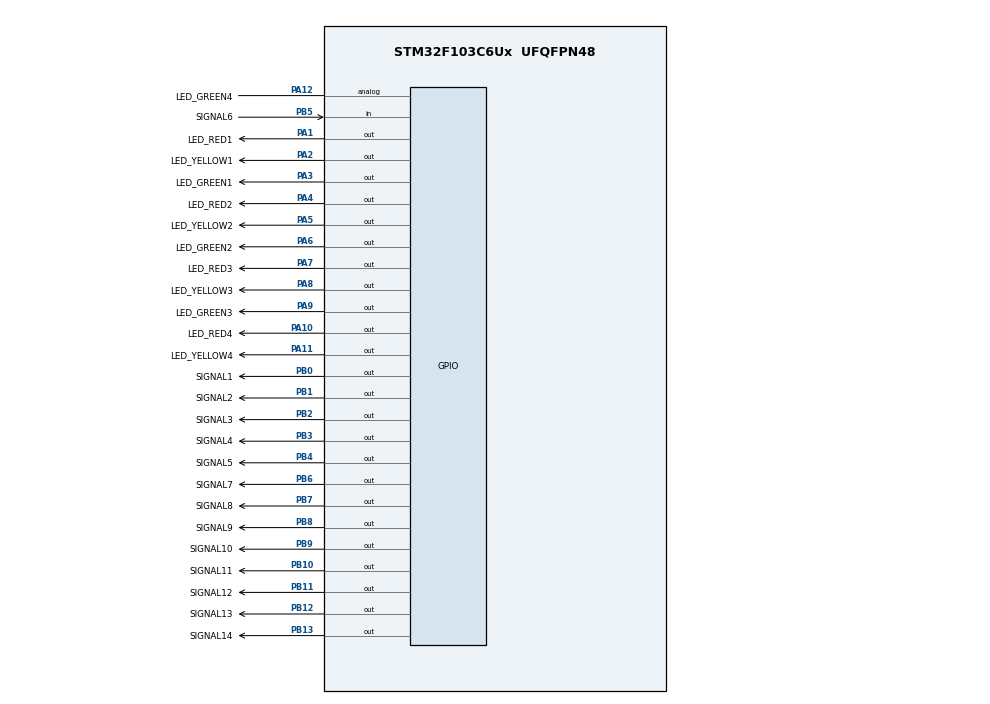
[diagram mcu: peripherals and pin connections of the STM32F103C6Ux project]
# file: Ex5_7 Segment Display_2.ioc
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Mcu.Family=STM32F1
Mcu.Name=STM32F103C6Ux
Mcu.Package=UFQFPN48
NVIC.PriorityGroup=NVIC_PRIORITYGROUP_4
PA1.GPIO_Label=LED_RED1
PA1.Signal=GPIO_Output
PA10.GPIO_Label=LED_RED4
PA10.Signal=GPIO_Output
PA11.GPIO_Label=LED_YELLOW4
PA11.Signal=GPIO_Output
PA12.GPIO_Label=LED_GREEN4
PA12.Signal=GPIO_Analog
PA2.GPIO_Label=LED_YELLOW1
PA2.Signal=GPIO_Output
PA3.GPIO_Label=LED_GREEN1
PA3.Signal=GPIO_Output
PA4.GPIO_Label=LED_RED2
PA4.Signal=GPIO_Output
PA5.GPIO_Label=LED_YELLOW2
PA5.Signal=GPIO_Output
PA6.GPIO_Label=LED_GREEN2
PA6.Signal=GPIO_Output
PA7.GPIO_Label=LED_RED3
PA7.Signal=GPIO_Output
PA8.GPIO_Label=LED_YELLOW3
PA8.Signal=GPIO_Output
PA9.GPIO_Label=LED_GREEN3
PA9.Signal=GPIO_Output
PB0.GPIO_Label=SIGNAL1
PB0.Signal=GPIO_Output
PB1.GPIO_Label=SIGNAL2
PB1.Signal=GPIO_Output
PB10.GPIO_Label=SIGNAL11
PB10.Signal=GPIO_Output
PB11.GPIO_Label=SIGNAL12
PB11.Signal=GPIO_Output
PB12.GPIO_Label=SIGNAL13
PB12.Signal=GPIO_Output
PB13.GPIO_Label=SIGNAL14
PB13.Signal=GPIO_Output
PB2.GPIO_Label=SIGNAL3
PB2.Signal=GPIO_Output
PB3.GPIO_Label=SIGNAL4
PB3.Signal=GPIO_Output
PB4.GPIO_Label=SIGNAL5
PB4.Signal=GPIO_Output
PB5.GPIO_Label=SIGNAL6
PB5.Signal=GPIO_Input
PB6.GPIO_Label=SIGNAL7
PB6.Signal=GPIO_Output
PB7.GPIO_Label=SIGNAL8
PB7.Signal=GPIO_Output
PB8.GPIO_Label=SIGNAL9
PB8.Signal=GPIO_Output
PB9.GPIO_Label=SIGNAL10
PB9.Signal=GPIO_Output
ProjectManager.HeapSize=0x200
ProjectManager.StackSize=0x400
ProjectManager.TargetToolchain=STM32CubeIDE
RCC.APB1Freq_Value=8000000
RCC.APB2Freq_Value=8000000
VP_SYS_VS_ND.Mode=No_Debug
board=custom

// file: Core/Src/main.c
/* USER CODE BEGIN Header */
/**
  ******************************************************************************
  * @file           : main.c
  * @brief          : Main program body
  ******************************************************************************
  * @attention
  *
  * <h2><center>&copy; Copyright (c) 2022 STMicroelectronics.
  * All rights reserved.</center></h2>
  *
  * This software component is licensed by ST under BSD 3-Clause license,
  * the "License"; You may not use this file except in compliance with the
  * License. You may obtain a copy of the License at:
  *                        opensource.org/licenses/BSD-3-Clause
  *
  ******************************************************************************
  */
/* USER CODE END Header */
#include "main.h"

void SystemClock_Config(void);
static void MX_GPIO_Init(void);

void display7SEG_24(int num){
	switch (num)
		{
		case 0:
				{
				HAL_GPIO_WritePin(SIGNAL8_GPIO_Port, SIGNAL8_Pin, RESET);
				HAL_GPIO_WritePin(SIGNAL9_GPIO_Port, SIGNAL9_Pin, RESET);
				HAL_GPIO_WritePin(SIGNAL10_GPIO_Port, SIGNAL10_Pin, RESET);
				HAL_GPIO_WritePin(SIGNAL11_GPIO_Port, SIGNAL11_Pin, RESET);
				HAL_GPIO_WritePin(SIGNAL12_GPIO_Port, SIGNAL12_Pin, RESET);
				HAL_GPIO_WritePin(SIGNAL13_GPIO_Port, SIGNAL13_Pin, RESET);
				HAL_GPIO_WritePin(SIGNAL14_GPIO_Port, SIGNAL14_Pin, SET);
				break;
				}
		case 1:
			{
			HAL_GPIO_WritePin(SIGNAL8_GPIO_Port, SIGNAL8_Pin, SET);
			HAL_GPIO_WritePin(SIGNAL9_GPIO_Port, SIGNAL9_Pin, RESET);
			HAL_GPIO_WritePin(SIGNAL10_GPIO_Port, SIGNAL10_Pin, RESET);
			HAL_GPIO_WritePin(SIGNAL11_GPIO_Port, SIGNAL11_Pin, SET);
			HAL_GPIO_WritePin(SIGNAL12_GPIO_Port, SIGNAL12_Pin, SET);
			HAL_GPIO_WritePin(SIGNAL13_GPIO_Port, SIGNAL13_Pin, SET);
			HAL_GPIO_WritePin(SIGNAL14_GPIO_Port, SIGNAL14_Pin, SET);
			break;
			}
		case 2:
			{
				HAL_GPIO_WritePin(SIGNAL8_GPIO_Port, SIGNAL8_Pin, RESET);
				HAL_GPIO_WritePin(SIGNAL9_GPIO_Port, SIGNAL9_Pin, RESET);
				HAL_GPIO_WritePin(SIGNAL10_GPIO_Port, SIGNAL10_Pin, SET);
				HAL_GPIO_WritePin(SIGNAL11_GPIO_Port, SIGNAL11_Pin, RESET);
				HAL_GPIO_WritePin(SIGNAL12_GPIO_Port, SIGNAL12_Pin, RESET);
				HAL_GPIO_WritePin(SIGNAL13_GPIO_Port, SIGNAL13_Pin, SET);
				HAL_GPIO_WritePin(SIGNAL14_GPIO_Port, SIGNAL14_Pin, RESET);
				break;
			}
		case 3:
				{
					HAL_GPIO_WritePin(SIGNAL8_GPIO_Port, SIGNAL8_Pin, RESET);
					HAL_GPIO_WritePin(SIGNAL9_GPIO_Port, SIGNAL9_Pin, RESET);
					HAL_GPIO_WritePin(SIGNAL10_GPIO_Port, SIGNAL10_Pin, RESET);
					HAL_GPIO_WritePin(SIGNAL11_GPIO_Port, SIGNAL11_Pin, RESET);
					HAL_GPIO_WritePin(SIGNAL12_GPIO_Port, SIGNAL12_Pin, SET);
					HAL_GPIO_WritePin(SIGNAL13_GPIO_Port, SIGNAL13_Pin, SET);
					HAL_GPIO_WritePin(SIGNAL14_GPIO_Port, SIGNAL14_Pin, RESET);
					break;
				}
		case 4:
				{
					HAL_GPIO_WritePin(SIGNAL8_GPIO_Port, SIGNAL8_Pin, SET);
					HAL_GPIO_WritePin(SIGNAL9_GPIO_Port, SIGNAL9_Pin, RESET);
					HAL_GPIO_WritePin(SIGNAL10_GPIO_Port, SIGNAL10_Pin, RESET);
					HAL_GPIO_WritePin(SIGNAL11_GPIO_Port, SIGNAL11_Pin, SET);
					HAL_GPIO_WritePin(SIGNAL12_GPIO_Port, SIGNAL12_Pin, SET);
					HAL_GPIO_WritePin(SIGNAL13_GPIO_Port, SIGNAL13_Pin, RESET);
					HAL_GPIO_WritePin(SIGNAL14_GPIO_Port, SIGNAL14_Pin, RESET);
					break;
				}
		case 5:
				{
					HAL_GPIO_WritePin(SIGNAL8_GPIO_Port, SIGNAL8_Pin, RESET);
					HAL_GPIO_WritePin(SIGNAL9_GPIO_Port, SIGNAL9_Pin, SET);
					HAL_GPIO_WritePin(SIGNAL10_GPIO_Port, SIGNAL10_Pin, RESET);
					HAL_GPIO_WritePin(SIGNAL11_GPIO_Port, SIGNAL11_Pin, RESET);
					HAL_GPIO_WritePin(SIGNAL12_GPIO_Port, SIGNAL12_Pin, SET);
					HAL_GPIO_WritePin(SIGNAL13_GPIO_Port, SIGNAL13_Pin, RESET);
					HAL_GPIO_WritePin(SIGNAL14_GPIO_Port, SIGNAL14_Pin, RESET);
					break;
				}
		case 6:
				{
					HAL_GPIO_WritePin(SIGNAL8_GPIO_Port, SIGNAL8_Pin, RESET);
					HAL_GPIO_WritePin(SIGNAL9_GPIO_Port, SIGNAL9_Pin, SET);
					HAL_GPIO_WritePin(SIGNAL10_GPIO_Port, SIGNAL10_Pin, RESET);
					HAL_GPIO_WritePin(SIGNAL11_GPIO_Port, SIGNAL11_Pin, RESET);
					HAL_GPIO_WritePin(SIGNAL12_GPIO_Port, SIGNAL12_Pin, RESET);
					HAL_GPIO_WritePin(SIGNAL13_GPIO_Port, SIGNAL13_Pin, RESET);
					HAL_GPIO_WritePin(SIGNAL14_GPIO_Port, SIGNAL14_Pin, RESET);
					break;
				}
		case 7:
				{
					HAL_GPIO_WritePin(SIGNAL8_GPIO_Port, SIGNAL8_Pin, RESET);
					HAL_GPIO_WritePin(SIGNAL9_GPIO_Port, SIGNAL9_Pin, RESET);
					HAL_GPIO_WritePin(SIGNAL10_GPIO_Port, SIGNAL10_Pin, RESET);
					HAL_GPIO_WritePin(SIGNAL11_GPIO_Port, SIGNAL11_Pin, SET);
					HAL_GPIO_WritePin(SIGNAL12_GPIO_Port, SIGNAL12_Pin, SET);
					HAL_GPIO_WritePin(SIGNAL13_GPIO_Port, SIGNAL13_Pin, SET);
					HAL_GPIO_WritePin(SIGNAL14_GPIO_Port, SIGNAL14_Pin, SET);
					break;
				}
		case 8:
				{
					HAL_GPIO_WritePin(SIGNAL8_GPIO_Port, SIGNAL8_Pin, RESET);
					HAL_GPIO_WritePin(SIGNAL9_GPIO_Port, SIGNAL9_Pin, RESET);
					HAL_GPIO_WritePin(SIGNAL10_GPIO_Port, SIGNAL10_Pin, RESET);
					HAL_GPIO_WritePin(SIGNAL11_GPIO_Port, SIGNAL11_Pin, RESET);
					HAL_GPIO_WritePin(SIGNAL12_GPIO_Port, SIGNAL12_Pin, RESET);
					HAL_GPIO_WritePin(SIGNAL13_GPIO_Port, SIGNAL13_Pin, RESET);
					HAL_GPIO_WritePin(SIGNAL14_GPIO_Port, SIGNAL14_Pin, RESET);
					break;
				}
		case 9:
				{
					HAL_GPIO_WritePin(SIGNAL8_GPIO_Port, SIGNAL8_Pin, RESET);
					HAL_GPIO_WritePin(SIGNAL9_GPIO_Port, SIGNAL9_Pin, RESET);
					HAL_GPIO_WritePin(SIGNAL10_GPIO_Port, SIGNAL10_Pin, RESET);
					HAL_GPIO_WritePin(SIGNAL11_GPIO_Port, SIGNAL11_Pin, RESET);
					HAL_GPIO_WritePin(SIGNAL12_GPIO_Port, SIGNAL12_Pin, SET);
					HAL_GPIO_WritePin(SIGNAL13_GPIO_Port, SIGNAL13_Pin, RESET);
					HAL_GPIO_WritePin(SIGNAL14_GPIO_Port, SIGNAL14_Pin, RESET);
					break;
				}
		}
}

void display7SEG_13(int num){
	switch (num)
	{
	case 0:
			{
			HAL_GPIO_WritePin(SIGNAL1_GPIO_Port, SIGNAL1_Pin, RESET);
			HAL_GPIO_WritePin(SIGNAL2_GPIO_Port, SIGNAL2_Pin, RESET);
			HAL_GPIO_WritePin(SIGNAL3_GPIO_Port, SIGNAL3_Pin, RESET);
			HAL_GPIO_WritePin(SIGNAL4_GPIO_Port, SIGNAL4_Pin, RESET);
			HAL_GPIO_WritePin(SIGNAL5_GPIO_Port, SIGNAL5_Pin, RESET);
			HAL_GPIO_WritePin(SIGNAL6_GPIO_Port, SIGNAL6_Pin, RESET);
			HAL_GPIO_WritePin(SIGNAL7_GPIO_Port, SIGNAL7_Pin, SET);
			break;
			}
	case 1:
		{
		HAL_GPIO_WritePin(SIGNAL1_GPIO_Port, SIGNAL1_Pin, SET);
		HAL_GPIO_WritePin(SIGNAL2_GPIO_Port, SIGNAL2_Pin, RESET);
		HAL_GPIO_WritePin(SIGNAL3_GPIO_Port, SIGNAL3_Pin, RESET);
		HAL_GPIO_WritePin(SIGNAL4_GPIO_Port, SIGNAL4_Pin, SET);
		HAL_GPIO_WritePin(SIGNAL5_GPIO_Port, SIGNAL5_Pin, SET);
		HAL_GPIO_WritePin(SIGNAL6_GPIO_Port, SIGNAL6_Pin, SET);
		HAL_GPIO_WritePin(SIGNAL7_GPIO_Port, SIGNAL7_Pin, SET);
		break;
		}
	case 2:
		{
			HAL_GPIO_WritePin(SIGNAL1_GPIO_Port, SIGNAL1_Pin, RESET);
			HAL_GPIO_WritePin(SIGNAL2_GPIO_Port, SIGNAL2_Pin, RESET);
			HAL_GPIO_WritePin(SIGNAL3_GPIO_Port, SIGNAL3_Pin, SET);
			HAL_GPIO_WritePin(SIGNAL4_GPIO_Port, SIGNAL4_Pin, RESET);
			HAL_GPIO_WritePin(SIGNAL5_GPIO_Port, SIGNAL5_Pin, RESET);
			HAL_GPIO_WritePin(SIGNAL6_GPIO_Port, SIGNAL6_Pin, SET);
			HAL_GPIO_WritePin(SIGNAL7_GPIO_Port, SIGNAL7_Pin, RESET);
			break;
		}
	case 3:
			{
				HAL_GPIO_WritePin(SIGNAL1_GPIO_Port, SIGNAL1_Pin, RESET);
				HAL_GPIO_WritePin(SIGNAL2_GPIO_Port, SIGNAL2_Pin, RESET);
				HAL_GPIO_WritePin(SIGNAL3_GPIO_Port, SIGNAL3_Pin, RESET);
				HAL_GPIO_WritePin(SIGNAL4_GPIO_Port, SIGNAL4_Pin, RESET);
				HAL_GPIO_WritePin(SIGNAL5_GPIO_Port, SIGNAL5_Pin, SET);
				HAL_GPIO_WritePin(SIGNAL6_GPIO_Port, SIGNAL6_Pin, SET);
				HAL_GPIO_WritePin(SIGNAL7_GPIO_Port, SIGNAL7_Pin, RESET);
				break;
			}
	case 4:
			{
				HAL_GPIO_WritePin(SIGNAL1_GPIO_Port, SIGNAL1_Pin, SET);
				HAL_GPIO_WritePin(SIGNAL2_GPIO_Port, SIGNAL2_Pin, RESET);
				HAL_GPIO_WritePin(SIGNAL3_GPIO_Port, SIGNAL3_Pin, RESET);
				HAL_GPIO_WritePin(SIGNAL4_GPIO_Port, SIGNAL4_Pin, SET);
				HAL_GPIO_WritePin(SIGNAL5_GPIO_Port, SIGNAL5_Pin, SET);
				HAL_GPIO_WritePin(SIGNAL6_GPIO_Port, SIGNAL6_Pin, RESET);
				HAL_GPIO_WritePin(SIGNAL7_GPIO_Port, SIGNAL7_Pin, RESET);
				break;
			}
	case 5:
			{
				HAL_GPIO_WritePin(SIGNAL1_GPIO_Port, SIGNAL1_Pin, RESET);
				HAL_GPIO_WritePin(SIGNAL2_GPIO_Port, SIGNAL2_Pin, SET);
				HAL_GPIO_WritePin(SIGNAL3_GPIO_Port, SIGNAL3_Pin, RESET);
				HAL_GPIO_WritePin(SIGNAL4_GPIO_Port, SIGNAL4_Pin, RESET);
				HAL_GPIO_WritePin(SIGNAL5_GPIO_Port, SIGNAL5_Pin, SET);
				HAL_GPIO_WritePin(SIGNAL6_GPIO_Port, SIGNAL6_Pin, RESET);
				HAL_GPIO_WritePin(SIGNAL7_GPIO_Port, SIGNAL7_Pin, RESET);
				break;
			}
	case 6:
			{
				HAL_GPIO_WritePin(SIGNAL1_GPIO_Port, SIGNAL1_Pin, RESET);
				HAL_GPIO_WritePin(SIGNAL2_GPIO_Port, SIGNAL2_Pin, SET);
				HAL_GPIO_WritePin(SIGNAL3_GPIO_Port, SIGNAL3_Pin, RESET);
				HAL_GPIO_WritePin(SIGNAL4_GPIO_Port, SIGNAL4_Pin, RESET);
				HAL_GPIO_WritePin(SIGNAL5_GPIO_Port, SIGNAL5_Pin, RESET);
				HAL_GPIO_WritePin(SIGNAL6_GPIO_Port, SIGNAL6_Pin, RESET);
				HAL_GPIO_WritePin(SIGNAL7_GPIO_Port, SIGNAL7_Pin, RESET);
				break;
			}
	case 7:
			{
				HAL_GPIO_WritePin(SIGNAL1_GPIO_Port, SIGNAL1_Pin, RESET);
				HAL_GPIO_WritePin(SIGNAL2_GPIO_Port, SIGNAL2_Pin, RESET);
				HAL_GPIO_WritePin(SIGNAL3_GPIO_Port, SIGNAL3_Pin, RESET);
				HAL_GPIO_WritePin(SIGNAL4_GPIO_Port, SIGNAL4_Pin, SET);
				HAL_GPIO_WritePin(SIGNAL5_GPIO_Port, SIGNAL5_Pin, SET);
				HAL_GPIO_WritePin(SIGNAL6_GPIO_Port, SIGNAL6_Pin, SET);
				HAL_GPIO_WritePin(SIGNAL7_GPIO_Port, SIGNAL7_Pin, SET);
				break;
			}
	case 8:
			{
				HAL_GPIO_WritePin(SIGNAL1_GPIO_Port, SIGNAL1_Pin, RESET);
				HAL_GPIO_WritePin(SIGNAL2_GPIO_Port, SIGNAL2_Pin, RESET);
				HAL_GPIO_WritePin(SIGNAL3_GPIO_Port, SIGNAL3_Pin, RESET);
				HAL_GPIO_WritePin(SIGNAL4_GPIO_Port, SIGNAL4_Pin, RESET);
				HAL_GPIO_WritePin(SIGNAL5_GPIO_Port, SIGNAL5_Pin, RESET);
				HAL_GPIO_WritePin(SIGNAL6_GPIO_Port, SIGNAL6_Pin, RESET);
				HAL_GPIO_WritePin(SIGNAL7_GPIO_Port, SIGNAL7_Pin, RESET);
				break;
			}
	case 9:
			{
				HAL_GPIO_WritePin(SIGNAL1_GPIO_Port, SIGNAL1_Pin, RESET);
				HAL_GPIO_WritePin(SIGNAL2_GPIO_Port, SIGNAL2_Pin, RESET);
				HAL_GPIO_WritePin(SIGNAL3_GPIO_Port, SIGNAL3_Pin, RESET);
				HAL_GPIO_WritePin(SIGNAL4_GPIO_Port, SIGNAL4_Pin, RESET);
				HAL_GPIO_WritePin(SIGNAL5_GPIO_Port, SIGNAL5_Pin, SET);
				HAL_GPIO_WritePin(SIGNAL6_GPIO_Port, SIGNAL6_Pin, RESET);
				HAL_GPIO_WritePin(SIGNAL7_GPIO_Port, SIGNAL7_Pin, RESET);
				break;
			}
	}
}
int main(void)
{

  /* MCU Configuration--------------------------------------------------------*/

  /* Reset of all peripherals, Initializes the Flash interface and the Systick. */
  HAL_Init();

  /* Configure the system clock */
  SystemClock_Config();

  /* Initialize all configured peripherals */
  MX_GPIO_Init();

  /* Infinite loop */
  /* USER CODE BEGIN WHILE */
  int time_red =5,time_yellow =2,time_green =3;
      int couter_time=0;
      int led_status =0;
      int couter_led1=0;
      int couter_led2=0;

      while (1)
      {
        /* USER CODE END WHILE */
    	  if(led_status == 0){
    	  // DEN DO KICH HOAT
    	  	// DO 13 XANH 24
    		  //DEN DO
    	  	  	HAL_GPIO_WritePin ( LED_RED1_GPIO_Port , LED_RED1_Pin ,  GPIO_PIN_RESET ) ;
    	  		HAL_GPIO_WritePin ( LED_RED2_GPIO_Port , LED_RED2_Pin ,  GPIO_PIN_SET ) ;
    	  		HAL_GPIO_WritePin ( LED_RED3_GPIO_Port , LED_RED3_Pin ,  GPIO_PIN_RESET ) ;
    	  		HAL_GPIO_WritePin ( LED_RED4_GPIO_Port , LED_RED4_Pin ,  GPIO_PIN_SET ) ;
    	  		// DDEN VANG
    	  		HAL_GPIO_WritePin ( LED_YELLOW1_GPIO_Port , LED_YELLOW1_Pin ,  GPIO_PIN_SET ) ;
    	  		HAL_GPIO_WritePin ( LED_YELLOW2_GPIO_Port , LED_YELLOW2_Pin ,  GPIO_PIN_SET ) ;
    	  		HAL_GPIO_WritePin ( LED_YELLOW3_GPIO_Port , LED_YELLOW3_Pin ,  GPIO_PIN_SET ) ;
    	  		HAL_GPIO_WritePin ( LED_YELLOW4_GPIO_Port , LED_YELLOW4_Pin ,  GPIO_PIN_SET ) ;
    	  		//DEN XANH
    	  		HAL_GPIO_WritePin ( LED_GREEN1_GPIO_Port , LED_GREEN1_Pin ,  GPIO_PIN_SET ) ;
    	  		HAL_GPIO_WritePin ( LED_GREEN2_GPIO_Port , LED_GREEN2_Pin ,  GPIO_PIN_RESET ) ;
    	  		HAL_GPIO_WritePin ( LED_GREEN3_GPIO_Port , LED_GREEN3_Pin ,  GPIO_PIN_SET ) ;
    	  		HAL_GPIO_WritePin ( LED_GREEN4_GPIO_Port , LED_GREEN4_Pin ,  GPIO_PIN_RESET ) ;

    	  		if(couter_time>time_red-time_yellow){
    	  			led_status = 1;
    	  			couter_time =0;
    	  			couter_led2=0;
    	  		}else{
    	  			couter_time =couter_time+1;
    	  			led_status =0;
    	  			display7SEG_13(time_red-couter_led1);
    	  			display7SEG_24(time_green-couter_led2);
    	  			couter_led1=couter_led1+1;
    	  			couter_led2=couter_led2+1;
    		  		HAL_Delay(500);
    	  		}
    	  }
    	  if(led_status ==1){
    		  //// DO 13 VANG 24

    		  		HAL_GPIO_WritePin ( LED_RED1_GPIO_Port , LED_RED1_Pin ,  GPIO_PIN_RESET ) ;
    		  		HAL_GPIO_WritePin ( LED_RED2_GPIO_Port , LED_RED2_Pin ,  GPIO_PIN_SET ) ;
    		  		HAL_GPIO_WritePin ( LED_RED3_GPIO_Port , LED_RED3_Pin ,  GPIO_PIN_RESET ) ;
    		  		HAL_GPIO_WritePin ( LED_RED4_GPIO_Port , LED_RED4_Pin ,  GPIO_PIN_SET ) ;

    		  		HAL_GPIO_WritePin ( LED_YELLOW1_GPIO_Port , LED_YELLOW1_Pin ,  GPIO_PIN_SET ) ;
    		  		HAL_GPIO_WritePin ( LED_YELLOW2_GPIO_Port , LED_YELLOW2_Pin ,  GPIO_PIN_RESET ) ;
    		  		HAL_GPIO_WritePin ( LED_YELLOW3_GPIO_Port , LED_YELLOW3_Pin ,  GPIO_PIN_SET ) ;
    		  		HAL_GPIO_WritePin ( LED_YELLOW4_GPIO_Port , LED_YELLOW4_Pin ,  GPIO_PIN_RESET ) ;

    		  		HAL_GPIO_WritePin ( LED_GREEN1_GPIO_Port , LED_GREEN1_Pin ,  GPIO_PIN_SET ) ;
    		  		HAL_GPIO_WritePin ( LED_GREEN2_GPIO_Port , LED_GREEN2_Pin ,  GPIO_PIN_SET ) ;
    		  		HAL_GPIO_WritePin ( LED_GREEN3_GPIO_Port , LED_GREEN3_Pin ,  GPIO_PIN_SET ) ;
    		  		HAL_GPIO_WritePin ( LED_GREEN4_GPIO_Port , LED_GREEN4_Pin ,  GPIO_PIN_SET ) ;
    		  		if(couter_time>time_red-time_green){
    		  			  			led_status = 2;
    		  			  			couter_time =0;
    		  			  			couter_led1=0;
    		  			  			couter_led2=0;
    		  		}else{
    		  			  	couter_time =couter_time+1;
    		  			  	led_status =1;
    		  			  	display7SEG_13(time_red-couter_led1);
    		  			    display7SEG_24(time_yellow-couter_led2);
    		  			    couter_led1=couter_led1+1;
    		  			    couter_led2=couter_led2+1;
    		  			  	HAL_Delay(500);
    		  		}
    	  }
    	  if(led_status ==2){
    		  // DEN XANH KICH HOAT

    		  	// DO 24 XANH 13
    		  		HAL_GPIO_WritePin ( LED_RED1_GPIO_Port , LED_RED1_Pin ,  GPIO_PIN_SET ) ;
    		  		HAL_GPIO_WritePin ( LED_RED2_GPIO_Port , LED_RED2_Pin ,  GPIO_PIN_RESET ) ;
    		  		HAL_GPIO_WritePin ( LED_RED3_GPIO_Port , LED_RED3_Pin ,  GPIO_PIN_SET ) ;
    		  		HAL_GPIO_WritePin ( LED_RED4_GPIO_Port , LED_RED4_Pin ,  GPIO_PIN_RESET ) ;

    		  		HAL_GPIO_WritePin ( LED_YELLOW1_GPIO_Port , LED_YELLOW1_Pin ,  GPIO_PIN_SET ) ;
    		  		HAL_GPIO_WritePin ( LED_YELLOW2_GPIO_Port , LED_YELLOW2_Pin ,  GPIO_PIN_SET ) ;
    		  		HAL_GPIO_WritePin ( LED_YELLOW3_GPIO_Port , LED_YELLOW3_Pin ,  GPIO_PIN_SET ) ;
    		  		HAL_GPIO_WritePin ( LED_YELLOW4_GPIO_Port , LED_YELLOW4_Pin ,  GPIO_PIN_SET ) ;

    		  		HAL_GPIO_WritePin ( LED_GREEN1_GPIO_Port , LED_GREEN1_Pin ,  GPIO_PIN_RESET ) ;
    		  		HAL_GPIO_WritePin ( LED_GREEN2_GPIO_Port , LED_GREEN2_Pin ,  GPIO_PIN_SET ) ;
    		  		HAL_GPIO_WritePin ( LED_GREEN3_GPIO_Port , LED_GREEN3_Pin ,  GPIO_PIN_RESET ) ;
    		  		HAL_GPIO_WritePin ( LED_GREEN4_GPIO_Port , LED_GREEN4_Pin ,  GPIO_PIN_SET ) ;
    		  		if(couter_time>time_red-time_yellow){
    		  			  			led_status = 3;
    		  			  			couter_time =0;
    		  			  			couter_led1=0;
    		  			  		}else{
    		  			  			couter_time =couter_time+1;
    		  			  			display7SEG_13(time_green-couter_led1);
    		  			  			display7SEG_24(time_red-couter_led2);
    		  			  			couter_led1 =couter_led1+1;
    		  			  			couter_led2 =couter_led2+1;
    		  			  			led_status =2;
    		  			  			HAL_Delay(500);
    		  			  		}
    	  }
    	  if(led_status == 3){

    		  	//// DO 24 VANG 13

    		  		HAL_GPIO_WritePin ( LED_RED1_GPIO_Port , LED_RED1_Pin ,  GPIO_PIN_SET ) ;
    		  		HAL_GPIO_WritePin ( LED_RED2_GPIO_Port , LED_RED2_Pin ,  GPIO_PIN_RESET ) ;
    		  		HAL_GPIO_WritePin ( LED_RED3_GPIO_Port , LED_RED3_Pin ,  GPIO_PIN_SET ) ;
    		  		HAL_GPIO_WritePin ( LED_RED4_GPIO_Port , LED_RED4_Pin ,  GPIO_PIN_RESET ) ;

    		  		HAL_GPIO_WritePin ( LED_YELLOW1_GPIO_Port , LED_YELLOW1_Pin ,  GPIO_PIN_RESET ) ;
    		  		HAL_GPIO_WritePin ( LED_YELLOW2_GPIO_Port , LED_YELLOW2_Pin ,  GPIO_PIN_SET ) ;
    		  		HAL_GPIO_WritePin ( LED_YELLOW3_GPIO_Port , LED_YELLOW3_Pin ,  GPIO_PIN_RESET ) ;
    		  		HAL_GPIO_WritePin ( LED_YELLOW4_GPIO_Port , LED_YELLOW4_Pin ,  GPIO_PIN_SET ) ;

    		  		HAL_GPIO_WritePin ( LED_GREEN1_GPIO_Port , LED_GREEN1_Pin ,  GPIO_PIN_SET ) ;
    		  		HAL_GPIO_WritePin ( LED_GREEN2_GPIO_Port , LED_GREEN2_Pin ,  GPIO_PIN_SET ) ;
    		  		HAL_GPIO_WritePin ( LED_GREEN3_GPIO_Port , LED_GREEN3_Pin ,  GPIO_PIN_SET ) ;
    		  		HAL_GPIO_WritePin ( LED_GREEN4_GPIO_Port , LED_GREEN4_Pin ,  GPIO_PIN_SET ) ;
    		  	//////////////////////////////////////
    		  		if(couter_time>time_red-time_green){
    		  				  			  			led_status = 0;
    		  				  			  			couter_time =0;
    		  				  			  			couter_led1=0;
    		  				  			  		    couter_led2=0;
    		  				  		}else{
    		  				  			  	couter_time =couter_time+1;
    		  				  			  	led_status =3;
    		  				  			  	display7SEG_13(time_yellow-couter_led1);
    		  				  			  	display7SEG_24(time_red-couter_led2);
    		  		  			  			couter_led1 =couter_led1+1;
    		  		  			  			couter_led2 =couter_led2+1;
    		  		  			  			HAL_Delay(500);
    		  				  		}
    	  }
      }
  }

void SystemClock_Config(void)
{
  RCC_OscInitTypeDef RCC_OscInitStruct = {0};
  RCC_ClkInitTypeDef RCC_ClkInitStruct = {0};

  /** Initializes the RCC Oscillators according to the specified parameters
  * in the RCC_OscInitTypeDef structure.
  */
  RCC_OscInitStruct.OscillatorType = RCC_OSCILLATORTYPE_HSI;
  RCC_OscInitStruct.HSIState = RCC_HSI_ON;
  RCC_OscInitStruct.HSICalibrationValue = RCC_HSICALIBRATION_DEFAULT;
  RCC_OscInitStruct.PLL.PLLState = RCC_PLL_NONE;
  if (HAL_RCC_OscConfig(&RCC_OscInitStruct) != HAL_OK)
  {
    Error_Handler();
  }
  /** Initializes the CPU, AHB and APB buses clocks
  */
  RCC_ClkInitStruct.ClockType = RCC_CLOCKTYPE_HCLK|RCC_CLOCKTYPE_SYSCLK
                              |RCC_CLOCKTYPE_PCLK1|RCC_CLOCKTYPE_PCLK2;
  RCC_ClkInitStruct.SYSCLKSource = RCC_SYSCLKSOURCE_HSI;
  RCC_ClkInitStruct.AHBCLKDivider = RCC_SYSCLK_DIV1;
  RCC_ClkInitStruct.APB1CLKDivider = RCC_HCLK_DIV1;
  RCC_ClkInitStruct.APB2CLKDivider = RCC_HCLK_DIV1;

  if (HAL_RCC_ClockConfig(&RCC_ClkInitStruct, FLASH_LATENCY_0) != HAL_OK)
  {
    Error_Handler();
  }
}

static void MX_GPIO_Init(void)
{
  GPIO_InitTypeDef GPIO_InitStruct = {0};

  /* GPIO Ports Clock Enable */
  __HAL_RCC_GPIOA_CLK_ENABLE();
  __HAL_RCC_GPIOB_CLK_ENABLE();

  /*Configure GPIO pin Output Level */
  HAL_GPIO_WritePin(GPIOA, LED_RED1_Pin|LED_YELLOW1_Pin|LED_GREEN1_Pin|LED_RED2_Pin
                          |LED_YELLOW2_Pin|LED_GREEN2_Pin|LED_RED3_Pin|LED_YELLOW3_Pin
                          |LED_GREEN3_Pin|LED_RED4_Pin|LED_YELLOW4_Pin, GPIO_PIN_RESET);

  /*Configure GPIO pin Output Level */
  HAL_GPIO_WritePin(GPIOB, SIGNAL1_Pin|SIGNAL2_Pin|SIGNAL3_Pin|SIGNAL11_Pin
                          |SIGNAL12_Pin|SIGNAL13_Pin|SIGNAL14_Pin|SIGNAL4_Pin
                          |SIGNAL5_Pin|SIGNAL7_Pin|SIGNAL8_Pin|SIGNAL9_Pin
                          |SIGNAL10_Pin, GPIO_PIN_RESET);

  /*Configure GPIO pins : LED_RED1_Pin LED_YELLOW1_Pin LED_GREEN1_Pin LED_RED2_Pin
                           LED_YELLOW2_Pin LED_GREEN2_Pin LED_RED3_Pin LED_YELLOW3_Pin
                           LED_GREEN3_Pin LED_RED4_Pin LED_YELLOW4_Pin */
  GPIO_InitStruct.Pin = LED_RED1_Pin|LED_YELLOW1_Pin|LED_GREEN1_Pin|LED_RED2_Pin
                          |LED_YELLOW2_Pin|LED_GREEN2_Pin|LED_RED3_Pin|LED_YELLOW3_Pin
                          |LED_GREEN3_Pin|LED_RED4_Pin|LED_YELLOW4_Pin;
  GPIO_InitStruct.Mode = GPIO_MODE_OUTPUT_PP;
  GPIO_InitStruct.Pull = GPIO_NOPULL;
  GPIO_InitStruct.Speed = GPIO_SPEED_FREQ_LOW;
  HAL_GPIO_Init(GPIOA, &GPIO_InitStruct);

  /*Configure GPIO pins : SIGNAL1_Pin SIGNAL2_Pin SIGNAL3_Pin SIGNAL11_Pin
                           SIGNAL12_Pin SIGNAL13_Pin SIGNAL14_Pin SIGNAL4_Pin
                           SIGNAL5_Pin SIGNAL7_Pin SIGNAL8_Pin SIGNAL9_Pin
                           SIGNAL10_Pin */
  GPIO_InitStruct.Pin = SIGNAL1_Pin|SIGNAL2_Pin|SIGNAL3_Pin|SIGNAL11_Pin
                          |SIGNAL12_Pin|SIGNAL13_Pin|SIGNAL14_Pin|SIGNAL4_Pin
                          |SIGNAL5_Pin|SIGNAL7_Pin|SIGNAL8_Pin|SIGNAL9_Pin
                          |SIGNAL10_Pin;
  GPIO_InitStruct.Mode = GPIO_MODE_OUTPUT_PP;
  GPIO_InitStruct.Pull = GPIO_NOPULL;
  GPIO_InitStruct.Speed = GPIO_SPEED_FREQ_LOW;
  HAL_GPIO_Init(GPIOB, &GPIO_InitStruct);

  /*Configure GPIO pin : LED_GREEN4_Pin */
  GPIO_InitStruct.Pin = LED_GREEN4_Pin;
  GPIO_InitStruct.Mode = GPIO_MODE_ANALOG;
  HAL_GPIO_Init(LED_GREEN4_GPIO_Port, &GPIO_InitStruct);

  /*Configure GPIO pin : SIGNAL6_Pin */
  GPIO_InitStruct.Pin = SIGNAL6_Pin;
  GPIO_InitStruct.Mode = GPIO_MODE_INPUT;
  GPIO_InitStruct.Pull = GPIO_NOPULL;
  HAL_GPIO_Init(SIGNAL6_GPIO_Port, &GPIO_InitStruct);

}

void Error_Handler(void)
{
  /* USER CODE BEGIN Error_Handler_Debug */
  /* User can add his own implementation to report the HAL error return state */
  __disable_irq();
  	  int time_red =5,time_yellow =2,time_green =3;
      int couter_time=0;
      int led_status =0;
      int couter_led1=0;
      int couter_led2=0;

      while (1)
      {
        /* USER CODE END WHILE */
    	  if(led_status ==0){
    	  // DEN DO KICH HOAT
    	  	// DO 13 XANH 24
    	  	  	HAL_GPIO_WritePin ( LED_RED1_GPIO_Port , LED_RED1_Pin ,  GPIO_PIN_RESET ) ;
    	  		HAL_GPIO_WritePin ( LED_RED2_GPIO_Port , LED_RED2_Pin ,  GPIO_PIN_SET ) ;
    	  		HAL_GPIO_WritePin ( LED_RED3_GPIO_Port , LED_RED3_Pin ,  GPIO_PIN_RESET ) ;
    	  		HAL_GPIO_WritePin ( LED_RED4_GPIO_Port , LED_RED4_Pin ,  GPIO_PIN_SET ) ;

    	  		HAL_GPIO_WritePin ( LED_YELLOW1_GPIO_Port , LED_YELLOW1_Pin ,  GPIO_PIN_SET ) ;
    	  		HAL_GPIO_WritePin ( LED_YELLOW2_GPIO_Port , LED_YELLOW2_Pin ,  GPIO_PIN_SET ) ;
    	  		HAL_GPIO_WritePin ( LED_YELLOW3_GPIO_Port , LED_YELLOW3_Pin ,  GPIO_PIN_SET ) ;
    	  		HAL_GPIO_WritePin ( LED_YELLOW4_GPIO_Port , LED_YELLOW4_Pin ,  GPIO_PIN_SET ) ;

    	  		HAL_GPIO_WritePin ( LED_GREEN1_GPIO_Port , LED_GREEN1_Pin ,  GPIO_PIN_SET ) ;
    	  		HAL_GPIO_WritePin ( LED_GREEN2_GPIO_Port , LED_GREEN2_Pin ,  GPIO_PIN_RESET ) ;
    	  		HAL_GPIO_WritePin ( LED_GREEN3_GPIO_Port , LED_GREEN3_Pin ,  GPIO_PIN_SET ) ;
    	  		HAL_GPIO_WritePin ( LED_GREEN4_GPIO_Port , LED_GREEN4_Pin ,  GPIO_PIN_RESET ) ;

    	  		if(couter_time>time_red-time_yellow){
    	  			led_status = 1;
    	  			couter_time =0;
    	  		}else{
    	  			couter_time =couter_time+1;
    	  			led_status =0;
    	  			// TIME 13
    	  			display7SEG_13(time_red-couter_led1);
    	  			couter_led1=couter_led1+1;
    	  			// TIME 24
    	  			display7SEG_24(time_green-couter_led2);
    	  			couter_led2=couter_led2+1;
    	  			if(time_green-couter_led2==0){couter_led2=0;};
    		  		HAL_Delay(500);
    	  		}
    	  }
    	  if(led_status ==1){
    		  //// DO 13 VANG 24

    		  		HAL_GPIO_WritePin ( LED_RED1_GPIO_Port , LED_RED1_Pin ,  GPIO_PIN_RESET ) ;
    		  		HAL_GPIO_WritePin ( LED_RED2_GPIO_Port , LED_RED2_Pin ,  GPIO_PIN_SET ) ;
    		  		HAL_GPIO_WritePin ( LED_RED3_GPIO_Port , LED_RED3_Pin ,  GPIO_PIN_RESET ) ;
    		  		HAL_GPIO_WritePin ( LED_RED4_GPIO_Port , LED_RED4_Pin ,  GPIO_PIN_SET ) ;

    		  		HAL_GPIO_WritePin ( LED_YELLOW1_GPIO_Port , LED_YELLOW1_Pin ,  GPIO_PIN_SET ) ;
    		  		HAL_GPIO_WritePin ( LED_YELLOW2_GPIO_Port , LED_YELLOW2_Pin ,  GPIO_PIN_RESET ) ;
    		  		HAL_GPIO_WritePin ( LED_YELLOW3_GPIO_Port , LED_YELLOW3_Pin ,  GPIO_PIN_SET ) ;
    		  		HAL_GPIO_WritePin ( LED_YELLOW4_GPIO_Port , LED_YELLOW4_Pin ,  GPIO_PIN_RESET ) ;

    		  		HAL_GPIO_WritePin ( LED_GREEN1_GPIO_Port , LED_GREEN1_Pin ,  GPIO_PIN_SET ) ;
    		  		HAL_GPIO_WritePin ( LED_GREEN2_GPIO_Port , LED_GREEN2_Pin ,  GPIO_PIN_SET ) ;
    		  		HAL_GPIO_WritePin ( LED_GREEN3_GPIO_Port , LED_GREEN3_Pin ,  GPIO_PIN_SET ) ;
    		  		HAL_GPIO_WritePin ( LED_GREEN4_GPIO_Port , LED_GREEN4_Pin ,  GPIO_PIN_SET ) ;
    		  		if(couter_time>time_red-time_green){
    		  			  			led_status = 2;
    		  			  			couter_time =0;
    		  		}else{
    		  			  	couter_time =couter_time+1;
    		  			  	led_status =1;
    		  			  	// TIME 13
    		  			  	display7SEG_13(time_red-couter_led1);
    		  			  	couter_led1=couter_led1+1;
    		  			  	if(time_red-couter_led1==0){couter_led1=0;}
    		  			  	// TIME 24
    		  			  	display7SEG_24(time_yellow-couter_led2);
    		  			    couter_led2=couter_led2+1;
    		  			  	if(time_yellow-couter_led2==0){couter_led2=0;};
    		  			  	HAL_Delay(500);
    		  		}
    	  }
    	  if(led_status ==2){
    		  // DEN XANH KICH HOAT

    		  	// DO 24 XANH 13
    		  		HAL_GPIO_WritePin ( LED_RED1_GPIO_Port , LED_RED1_Pin ,  GPIO_PIN_SET ) ;
    		  		HAL_GPIO_WritePin ( LED_RED2_GPIO_Port , LED_RED2_Pin ,  GPIO_PIN_RESET ) ;
    		  		HAL_GPIO_WritePin ( LED_RED3_GPIO_Port , LED_RED3_Pin ,  GPIO_PIN_SET ) ;
    		  		HAL_GPIO_WritePin ( LED_RED4_GPIO_Port , LED_RED4_Pin ,  GPIO_PIN_RESET ) ;

    		  		HAL_GPIO_WritePin ( LED_YELLOW1_GPIO_Port , LED_YELLOW1_Pin ,  GPIO_PIN_SET ) ;
    		  		HAL_GPIO_WritePin ( LED_YELLOW2_GPIO_Port , LED_YELLOW2_Pin ,  GPIO_PIN_SET ) ;
    		  		HAL_GPIO_WritePin ( LED_YELLOW3_GPIO_Port , LED_YELLOW3_Pin ,  GPIO_PIN_SET ) ;
    		  		HAL_GPIO_WritePin ( LED_YELLOW4_GPIO_Port , LED_YELLOW4_Pin ,  GPIO_PIN_SET ) ;

    		  		HAL_GPIO_WritePin ( LED_GREEN1_GPIO_Port , LED_GREEN1_Pin ,  GPIO_PIN_RESET ) ;
    		  		HAL_GPIO_WritePin ( LED_GREEN2_GPIO_Port , LED_GREEN2_Pin ,  GPIO_PIN_SET ) ;
    		  		HAL_GPIO_WritePin ( LED_GREEN3_GPIO_Port , LED_GREEN3_Pin ,  GPIO_PIN_RESET ) ;
    		  		HAL_GPIO_WritePin ( LED_GREEN4_GPIO_Port , LED_GREEN4_Pin ,  GPIO_PIN_SET ) ;
    		  		if(couter_time>time_red-time_yellow){
    		  			  			led_status = 3;
    		  			  			couter_time =0;
    		  			  		}else{
    		  			  			couter_time =couter_time+1;
    		  			  			led_status =2;
    		  			  			// TIME 13
    		  			  			display7SEG_13(time_green-couter_led1);
    		  			  			couter_led1 =couter_led1+1;
    		  			  		  	if(time_green-couter_led1==0){couter_led1=0;}
    		  			  			// TIME 24
    		  			  		  	display7SEG_24(time_red-couter_led2);
    		  			  		  	couter_led2 =couter_led2+1;
    		  			  		  	if(time_red-couter_led2==0){couter_led2=0;}
    		  			  			HAL_Delay(500);
    		  			  		}
    	  }
    	  if(led_status == 3){

    		  	//// DO 24 VANG 13

    		  		HAL_GPIO_WritePin ( LED_RED1_GPIO_Port , LED_RED1_Pin ,  GPIO_PIN_SET ) ;
    		  		HAL_GPIO_WritePin ( LED_RED2_GPIO_Port , LED_RED2_Pin ,  GPIO_PIN_RESET ) ;
    		  		HAL_GPIO_WritePin ( LED_RED3_GPIO_Port , LED_RED3_Pin ,  GPIO_PIN_SET ) ;
    		  		HAL_GPIO_WritePin ( LED_RED4_GPIO_Port , LED_RED4_Pin ,  GPIO_PIN_RESET ) ;

    		  		HAL_GPIO_WritePin ( LED_YELLOW1_GPIO_Port , LED_YELLOW1_Pin ,  GPIO_PIN_RESET ) ;
    		  		HAL_GPIO_WritePin ( LED_YELLOW2_GPIO_Port , LED_YELLOW2_Pin ,  GPIO_PIN_SET ) ;
    		  		HAL_GPIO_WritePin ( LED_YELLOW3_GPIO_Port , LED_YELLOW3_Pin ,  GPIO_PIN_RESET ) ;
    		  		HAL_GPIO_WritePin ( LED_YELLOW4_GPIO_Port , LED_YELLOW4_Pin ,  GPIO_PIN_SET ) ;

    		  		HAL_GPIO_WritePin ( LED_GREEN1_GPIO_Port , LED_GREEN1_Pin ,  GPIO_PIN_SET ) ;
    		  		HAL_GPIO_WritePin ( LED_GREEN2_GPIO_Port , LED_GREEN2_Pin ,  GPIO_PIN_SET ) ;
    		  		HAL_GPIO_WritePin ( LED_GREEN3_GPIO_Port , LED_GREEN3_Pin ,  GPIO_PIN_SET ) ;
    		  		HAL_GPIO_WritePin ( LED_GREEN4_GPIO_Port , LED_GREEN4_Pin ,  GPIO_PIN_SET ) ;
    		  		if(couter_time>time_red-time_green){
    		  				  			  			led_status = 0;
    		  				  			  			couter_time =0;
    		  				  		}else{
    		  				  			  	couter_time =couter_time+1;
    		  				  			  	led_status =3;
    		  				  			  	// TIME 13
    		  				  			  	display7SEG_13(time_yellow-couter_led1);
    		  		  			  			couter_led1 =couter_led1+1;
    		  				  		  		if(time_yellow-couter_led1==0){couter_led1=0;}
    		  		  			  			// TIME 24
    		  				  		  	    display7SEG_24(time_red-couter_led2);
    		  				  		  	    couter_led2 =couter_led2+1;
    		  				  		  	    if(time_red-couter_led2==0){couter_led2=0;}
    		  				  		  		HAL_Delay(500);
    		  				  		}

    	  }
        /* USER CODE BEGIN 3 */
      }

  /* USER CODE END Error_Handler_Debug */
}

/************************ (C) COPYRIGHT STMicroelectronics *****END OF FILE****/
